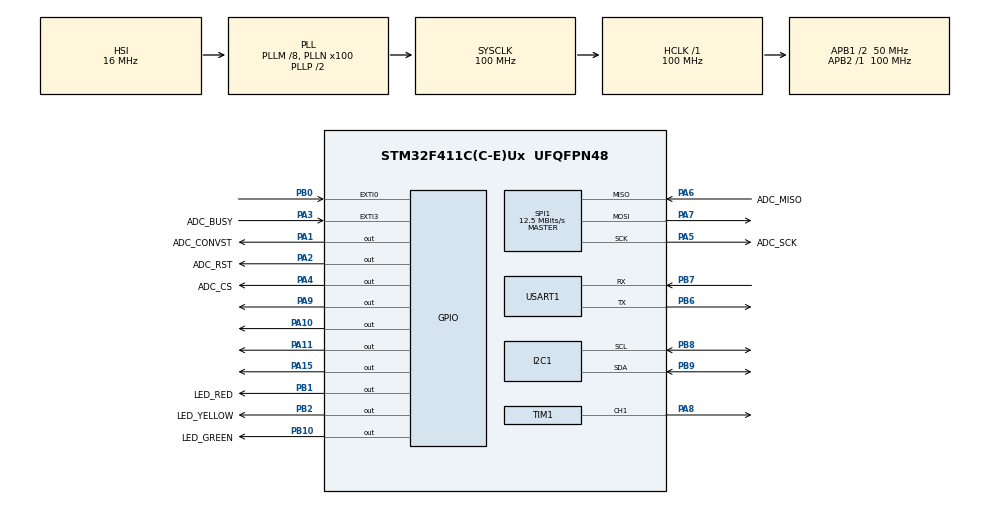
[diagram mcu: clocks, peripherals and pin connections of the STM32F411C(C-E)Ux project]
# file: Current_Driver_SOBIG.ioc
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Dma.Request0=SPI1_RX
Dma.Request1=USART1_RX
Dma.Request2=USART1_TX
Dma.Request3=SPI1_TX
Dma.SPI1_RX.0.Direction=DMA_PERIPH_TO_MEMORY
Dma.SPI1_RX.0.FIFOMode=DMA_FIFOMODE_DISABLE
Dma.SPI1_RX.0.Instance=DMA2_Stream0
Dma.SPI1_RX.0.MemDataAlignment=DMA_MDATAALIGN_HALFWORD
Dma.SPI1_RX.0.MemInc=DMA_MINC_ENABLE
Dma.SPI1_RX.0.Mode=DMA_NORMAL
Dma.SPI1_RX.0.PeriphDataAlignment=DMA_PDATAALIGN_HALFWORD
Dma.SPI1_RX.0.PeriphInc=DMA_PINC_DISABLE
Dma.SPI1_RX.0.Priority=DMA_PRIORITY_LOW
Dma.SPI1_TX.3.Direction=DMA_MEMORY_TO_PERIPH
Dma.SPI1_TX.3.FIFOMode=DMA_FIFOMODE_DISABLE
Dma.SPI1_TX.3.Instance=DMA2_Stream3
Dma.SPI1_TX.3.MemDataAlignment=DMA_MDATAALIGN_HALFWORD
Dma.SPI1_TX.3.MemInc=DMA_MINC_ENABLE
Dma.SPI1_TX.3.Mode=DMA_NORMAL
Dma.SPI1_TX.3.PeriphDataAlignment=DMA_PDATAALIGN_HALFWORD
Dma.SPI1_TX.3.PeriphInc=DMA_PINC_DISABLE
Dma.SPI1_TX.3.Priority=DMA_PRIORITY_LOW
Dma.USART1_RX.1.Direction=DMA_PERIPH_TO_MEMORY
Dma.USART1_RX.1.FIFOMode=DMA_FIFOMODE_DISABLE
Dma.USART1_RX.1.Instance=DMA2_Stream2
Dma.USART1_RX.1.MemDataAlignment=DMA_MDATAALIGN_BYTE
Dma.USART1_RX.1.MemInc=DMA_MINC_ENABLE
Dma.USART1_RX.1.Mode=DMA_NORMAL
Dma.USART1_RX.1.PeriphDataAlignment=DMA_PDATAALIGN_BYTE
Dma.USART1_RX.1.PeriphInc=DMA_PINC_DISABLE
Dma.USART1_RX.1.Priority=DMA_PRIORITY_HIGH
Dma.USART1_TX.2.Direction=DMA_MEMORY_TO_PERIPH
Dma.USART1_TX.2.FIFOMode=DMA_FIFOMODE_DISABLE
Dma.USART1_TX.2.Instance=DMA2_Stream7
Dma.USART1_TX.2.MemDataAlignment=DMA_MDATAALIGN_BYTE
Dma.USART1_TX.2.MemInc=DMA_MINC_ENABLE
Dma.USART1_TX.2.Mode=DMA_NORMAL
Dma.USART1_TX.2.PeriphDataAlignment=DMA_PDATAALIGN_BYTE
Dma.USART1_TX.2.PeriphInc=DMA_PINC_DISABLE
Dma.USART1_TX.2.Priority=DMA_PRIORITY_HIGH
Mcu.Family=STM32F4
Mcu.Name=STM32F411C(C-E)Ux
Mcu.Package=UFQFPN48
NVIC.DMA2_Stream0_IRQn=true\:3\:0\:true\:false\:true\:false\:true\:true
NVIC.DMA2_Stream2_IRQn=true\:3\:0\:true\:false\:true\:false\:true\:true
NVIC.DMA2_Stream3_IRQn=true\:0\:0\:false\:false\:true\:false\:true\:true
NVIC.DMA2_Stream7_IRQn=true\:3\:0\:true\:false\:true\:false\:true\:true
NVIC.EXTI0_IRQn=true\:0\:0\:false\:false\:true\:true\:true\:true
NVIC.PriorityGroup=NVIC_PRIORITYGROUP_4
NVIC.SPI1_IRQn=true\:1\:0\:true\:false\:true\:true\:true\:true
NVIC.TIM1_UP_TIM10_IRQn=true\:2\:0\:true\:false\:true\:true\:true\:true
NVIC.USART1_IRQn=true\:4\:0\:true\:false\:true\:true\:true\:true
PA1.GPIO_Label=ADC_CONVST
PA1.Signal=GPIO_Output
PA10.Signal=GPIO_Output
PA11.Signal=GPIO_Output
PA13.Mode=Serial_Wire
PA13.Signal=SYS_JTMS-SWDIO
PA14.Mode=Serial_Wire
PA14.Signal=SYS_JTCK-SWCLK
PA15.Signal=GPIO_Output
PA2.GPIO_Label=ADC_RST
PA2.Signal=GPIO_Output
PA3.GPIO_Label=ADC_BUSY
PA3.GPIO_ModeDefaultEXTI=GPIO_MODE_IT_FALLING
PA3.Signal=GPXTI3
PA4.GPIO_Label=ADC_CS
PA4.Signal=GPIO_Output
PA5.GPIO_Label=ADC_SCK
PA5.Mode=Full_Duplex_Master
PA5.Signal=SPI1_SCK
PA6.GPIO_Label=ADC_MISO
PA6.Mode=Full_Duplex_Master
PA6.Signal=SPI1_MISO
PA7.Mode=Full_Duplex_Master
PA7.Signal=SPI1_MOSI
PA8.Signal=S_TIM1_CH1
PA9.Signal=GPIO_Output
PB0.GPIO_ModeDefaultEXTI=GPIO_MODE_IT_FALLING
PB0.Signal=GPXTI0
PB1.GPIO_Label=LED_RED
PB1.Signal=GPIO_Output
PB10.GPIO_Label=LED_GREEN
PB10.Signal=GPIO_Output
PB2.GPIO_Label=LED_YELLOW
PB2.Signal=GPIO_Output
PB6.Mode=Asynchronous
PB6.Signal=USART1_TX
PB7.Mode=Asynchronous
PB7.Signal=USART1_RX
PB8.Mode=I2C
PB8.Signal=I2C1_SCL
PB9.Mode=I2C
PB9.Signal=I2C1_SDA
PH0\ -\ OSC_IN.Mode=HSE-External-Oscillator
PH0\ -\ OSC_IN.Signal=RCC_OSC_IN
PH1\ -\ OSC_OUT.Mode=HSE-External-Oscillator
PH1\ -\ OSC_OUT.Signal=RCC_OSC_OUT
ProjectManager.HeapSize=0x200
ProjectManager.StackSize=0x400
ProjectManager.TargetToolchain=STM32CubeIDE
RCC.48MHZClocksFreq_Value=50000000
RCC.AHBFreq_Value=100000000
RCC.APB1CLKDivider=RCC_HCLK_DIV2
RCC.APB1Freq_Value=50000000
RCC.APB1TimFreq_Value=100000000
RCC.APB2Freq_Value=100000000
RCC.APB2TimFreq_Value=100000000
RCC.CortexFreq_Value=100000000
RCC.HCLKFreq_Value=100000000
RCC.HSE_VALUE=25000000
RCC.HSI_VALUE=16000000
RCC.LSE_VALUE=32768
RCC.PLLM=8
RCC.PLLN=100
RCC.SYSCLKFreq_VALUE=100000000
RCC.SYSCLKSource=RCC_SYSCLKSOURCE_PLLCLK
RCC.VCOOutputFreq_Value=200000000
SH.S_TIM1_CH1.0=TIM1_CH1,PWM Generation1 CH1
SPI1.BaudRatePrescaler=SPI_BAUDRATEPRESCALER_8
SPI1.CLKPolarity=SPI_POLARITY_HIGH
SPI1.CalculateBaudRate=12.5 MBits/s
SPI1.DataSize=SPI_DATASIZE_16BIT
SPI1.Direction=SPI_DIRECTION_2LINES
SPI1.Mode=SPI_MODE_MASTER
SPI1.VirtualType=VM_MASTER
TIM1.Channel-PWM\ Generation1\ CH1=TIM_CHANNEL_1
TIM1.Period=4000-1
USART1.VirtualMode=VM_ASYNC
VP_TIM1_VS_ClockSourceINT.Mode=Internal
board=custom

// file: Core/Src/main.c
/* USER CODE BEGIN Header */
/**
  ******************************************************************************
  * @file           : main.c
  * @brief          : Main program body
  ******************************************************************************
  * @attention
  *
  * Copyright (c) 2026 STMicroelectronics.
  * All rights reserved.
  *
  * This software is licensed under terms that can be found in the LICENSE file
  * in the root directory of this software component.
  * If no LICENSE file comes with this software, it is provided AS-IS.
  *
  ******************************************************************************
  */
/* USER CODE END Header */
#include "main.h"
#include "dma.h"
#include "i2c.h"
#include "spi.h"
#include "tim.h"
#include "usart.h"
#include "gpio.h"

/* USER CODE BEGIN Includes */
#include "ad7606.h"
#include "pwm_control.h"
#include "fsm.h"
#include "control_loop.h"
#include "serial.h"
#include "rs485.h"
#include "LCD.h"
/* USER CODE END Includes */

/* USER CODE BEGIN PV */
volatile int16_t offset_ch1 = 0;
uint8_t current_state = 0;
volatile float current_display = 0;
/* USER CODE END PV */

void SystemClock_Config(void);

int main(void)
{

  /* MCU Configuration--------------------------------------------------------*/

  /* Reset of all peripherals, Initializes the Flash interface and the Systick. */
  HAL_Init();

  /* Configure the system clock */
  SystemClock_Config();

  /* Initialize all configured peripherals */
  MX_GPIO_Init();
  MX_DMA_Init();
  MX_SPI1_Init();
  MX_TIM1_Init();
  MX_USART1_UART_Init();
  MX_I2C1_Init();
  /* USER CODE BEGIN 2 */
  // 1. Khởi tạo State Machine và các Module ngoại vi
//    FSM_Init();
//    AD7606_Init();
//    offset_ch1 = AD7606_Calibrate_Offset_CH1(5000);
//    PWM_Init();
//    RS485_Init(&huart1);
//    lcd_init();
//    // 2. Bắt đầu kích hoạt Timer chạy ngầm tạo Pipeline ADC-PWM 25kHz
//    HAL_TIM_Base_Start_IT(&htim1);

  FSM_Init();
  /* Chưa khởi động PWM/timer trong quá trình hiệu chuẩn. */
  PWM_Stop();
  HAL_NVIC_DisableIRQ(EXTI3_IRQn);

  lcd_init();
  lcd_put_cur(0, 0);
  lcd_send_string("STARTING...  ");

  /*
   * Khoảng chờ thử nghiệm cho nguồn cảm biến ổn định.
   * Nếu cảm biến cần lâu hơn, phải điều chỉnh theo phần cứng.
   */
  HAL_Delay(1000);

  AD7606_Init();

  /* Use the runtime sampling path during zero calibration as well.
   * Keep STATE_INIT and zero duty until calibration succeeds.
   */
  PWM_Init();
  PWM_Stop();
  __HAL_GPIO_EXTI_CLEAR_IT(ADC_BUSY_Pin);
  HAL_NVIC_ClearPendingIRQ(EXTI3_IRQn);
  HAL_NVIC_SetPriority(EXTI3_IRQn, 1, 0);
  HAL_NVIC_EnableIRQ(EXTI3_IRQn);
  __HAL_TIM_CLEAR_FLAG(&htim1, TIM_FLAG_UPDATE);
  HAL_StatusTypeDef timer_status = HAL_TIM_Base_Start_IT(&htim1);

  int16_t calibrated_offset = 0;

  HAL_StatusTypeDef adc_status = timer_status;
  if (adc_status == HAL_OK)
      adc_status = AD7606_Calibrate_Offset_CH1(4096, &calibrated_offset);

  if (adc_status != HAL_OK)
  {
      /* Preserve the cause before aborting SPI changes peripheral status. */
      AD7606_Error_t adc_error = AD7606_GetError();
      HAL_TIM_Base_Stop_IT(&htim1);
      HAL_NVIC_DisableIRQ(EXTI3_IRQn);
      HAL_SPI_Abort(&hspi1);
      AD7606_End_DMA_Read();
      PWM_Stop();
      FSM_SetState(STATE_FAULT);

      lcd_clear();
      lcd_put_cur(0, 0);
      lcd_send_string("ADC INIT ERROR  ");
      lcd_put_cur(1, 0);
      if (timer_status != HAL_OK)
          lcd_send_string("TIMER START ERR ");
      else
      {
          switch (adc_error)
          {
          case ADC_ERROR_SAMPLE_OVERRUN:
              lcd_send_string("ADC OVERRUN     "); break;
          case ADC_ERROR_BUSY_STUCK:
              lcd_send_string("ADC BUSY HIGH   "); break;
          case ADC_ERROR_DMA_START:
              lcd_send_string("DMA START ERROR "); break;
          case ADC_ERROR_SPI:
              lcd_send_string("SPI ERROR       "); break;
          case ADC_ERROR_NO_SAMPLES:
              lcd_send_string("ADC NO SAMPLES  "); break;
          case ADC_ERROR_ZERO_NOISE:
              lcd_send_string("ZERO TOO NOISY  "); break;
          case ADC_ERROR_ZERO_DRIFT:
              lcd_send_string("ZERO DRIFT      "); break;
          default:
              lcd_send_string("CALIBRATION ERR "); break;
          }
      }
      while (1)
      {
          HAL_Delay(100);
      }
  }

  offset_ch1 = calibrated_offset;

  RS485_Init(&huart1);

  lcd_clear();

  /* Sampling is already running; do not restart it after calibration. */
  /* USER CODE END 2 */

  /* Infinite loop */
  while (1)
  {

    /* USER CODE BEGIN 3 */
    // Hàm đóng gói, phân tách bản tin
    APP_RS485_Task(&huart1);

	  // Hàm này check lỗi, chạy nền song song, không làm tắc nghẽn PID
	current_state = FSM_GetCurrentState();
	//UI_System_Update(current_state, current_display);
	static uint32_t last_lcd_tick = 0;
	uint32_t now = HAL_GetTick();

	if ((uint32_t)(now - last_lcd_tick) >= 50U)
	{
	    last_lcd_tick = now;
	    UI_System_Update(current_state, current_display);
	}
	FSM_Update();
  }
  /* USER CODE END 3 */
}

void SystemClock_Config(void)
{
  RCC_OscInitTypeDef RCC_OscInitStruct = {0};
  RCC_ClkInitTypeDef RCC_ClkInitStruct = {0};

  /** Configure the main internal regulator output voltage
  */
  __HAL_RCC_PWR_CLK_ENABLE();
  __HAL_PWR_VOLTAGESCALING_CONFIG(PWR_REGULATOR_VOLTAGE_SCALE1);

  /** Initializes the RCC Oscillators according to the specified parameters
  * in the RCC_OscInitTypeDef structure.
  */
  RCC_OscInitStruct.OscillatorType = RCC_OSCILLATORTYPE_HSI;
  RCC_OscInitStruct.HSIState = RCC_HSI_ON;
  RCC_OscInitStruct.HSICalibrationValue = RCC_HSICALIBRATION_DEFAULT;
  RCC_OscInitStruct.PLL.PLLState = RCC_PLL_ON;
  RCC_OscInitStruct.PLL.PLLSource = RCC_PLLSOURCE_HSI;
  RCC_OscInitStruct.PLL.PLLM = 8;
  RCC_OscInitStruct.PLL.PLLN = 100;
  RCC_OscInitStruct.PLL.PLLP = RCC_PLLP_DIV2;
  RCC_OscInitStruct.PLL.PLLQ = 4;
  if (HAL_RCC_OscConfig(&RCC_OscInitStruct) != HAL_OK)
  {
    Error_Handler();
  }

  /** Initializes the CPU, AHB and APB buses clocks
  */
  RCC_ClkInitStruct.ClockType = RCC_CLOCKTYPE_HCLK|RCC_CLOCKTYPE_SYSCLK
                              |RCC_CLOCKTYPE_PCLK1|RCC_CLOCKTYPE_PCLK2;
  RCC_ClkInitStruct.SYSCLKSource = RCC_SYSCLKSOURCE_PLLCLK;
  RCC_ClkInitStruct.AHBCLKDivider = RCC_SYSCLK_DIV1;
  RCC_ClkInitStruct.APB1CLKDivider = RCC_HCLK_DIV2;
  RCC_ClkInitStruct.APB2CLKDivider = RCC_HCLK_DIV1;

  if (HAL_RCC_ClockConfig(&RCC_ClkInitStruct, FLASH_LATENCY_3) != HAL_OK)
  {
    Error_Handler();
  }
}

void Error_Handler(void)
{
  __disable_irq();
  while (1)
  {
  }
}
